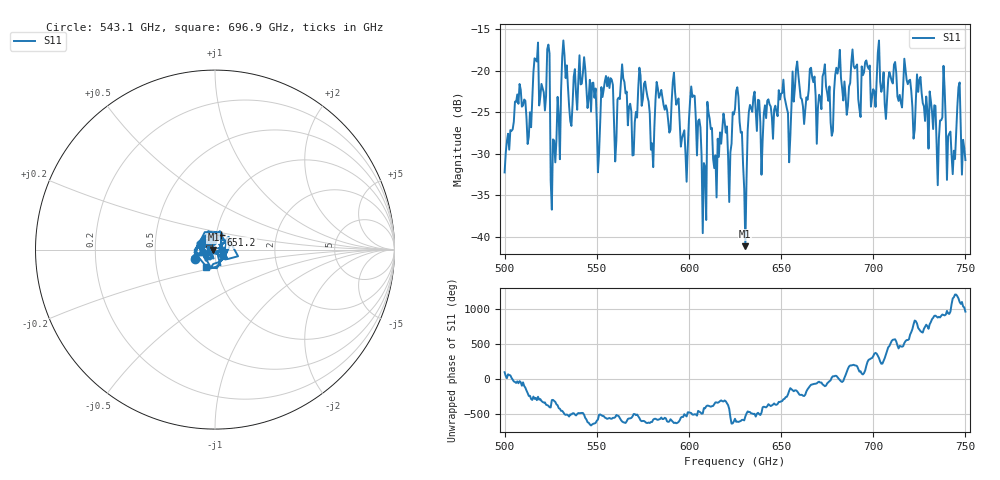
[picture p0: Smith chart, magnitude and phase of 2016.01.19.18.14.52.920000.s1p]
!Created with skrf (http://scikit-rf.org).
# GHz S RI R 50.0
!freq ReS11 ImS11
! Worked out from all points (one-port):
!   401 points, 500 GHz to 750 GHz, reference 50 ohm
!   lowest |S11| = -41.1 dB at 630.6 GHz (marker M1), VSWR 1.02, Z = 49.1 - j0.0298 ohm
!   |S11| at or under -10 dB: start of sweep to end of sweep
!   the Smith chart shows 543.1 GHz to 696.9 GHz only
!   S11 on the Smith chart (normalised r, x): 543.1 GHz: 0.80, -0.09; 651.2 GHz: 1.05, +0.17; 696.9 GHz: 0.89, -0.17
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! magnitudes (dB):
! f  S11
! 500 GHz  -32.3
! 507.5 GHz  -24.0
! 513.8 GHz  -25.0
! 516.9 GHz  -18.7
! 523.1 GHz  -17.4
! 526.2 GHz  -28.3
! 531.2 GHz  -18.3
! 543.1 GHz  -18.4
! 550.6 GHz  -32.2
! 562.5 GHz  -23.4
! 570.6 GHz  -26.2
! 576.9 GHz  -22.3
! 580 GHz  -28.7
! 593.8 GHz  -23.6
! 598.1 GHz  -29.9
! 601.9 GHz  -23.2
! 608.1 GHz  -31.1
! 611.2 GHz  -25.8
! 621.9 GHz  -35.8
! 625 GHz  -24.6
! 630.6 GHz  -41.1
! 634.4 GHz  -24.9
! 651.2 GHz  -21.1
! 656.2 GHz  -20.1
! 687.5 GHz  -21.5
! 696.9 GHz  -19.5
! 718.8 GHz  -21.6
! 750 GHz  -30.8
